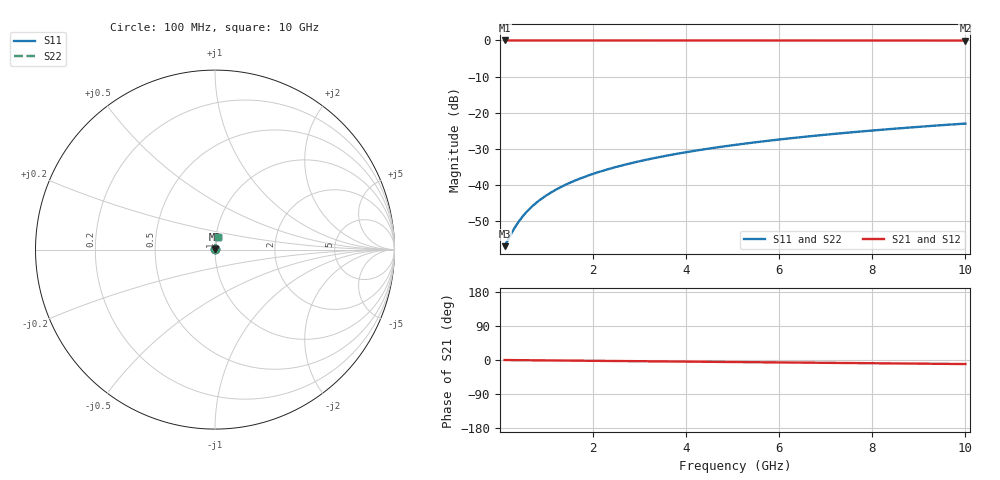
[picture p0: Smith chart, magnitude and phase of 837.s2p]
# Hz S RI R 50.00
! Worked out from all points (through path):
!   100 points, 100 MHz to 10 GHz, reference 50 ohm
!   highest |S21| = -0.01 dB at 100 MHz (marker M1); lowest = 0.0 dB at 10 GHz (marker M2)
!   group delay of S21, straight-line fit = 2.96 ps
!   lowest |S11| = -56.8 dB at 100 MHz (marker M3), VSWR 1.00, Z = 50.1 + j0.0713 ohm
!   |S11| at or under -10 dB: start of sweep to end of sweep
!   |S22| runs from -56.8 to -23.0 dB; largest |S21 - S12| = 0
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1e8  0.00125 0.000711  0.9987 -0.00185  0.9987 -0.00185  0.00125 0.000711
3e8  0.00127 0.00213  0.9987 -0.00556  0.9987 -0.00556  0.00127 0.00213
4e8  0.00129 0.00284  0.9987 -0.00741  0.9987 -0.00741  0.00129 0.00284
5e8  0.0013 0.00356  0.9987 -0.00926  0.9987 -0.00926  0.0013 0.00356
6e8  0.00132 0.00427  0.9986 -0.0111  0.9986 -0.0111  0.00132 0.00427
7e8  0.00134 0.00498  0.9986 -0.013  0.9986 -0.013  0.00134 0.00498
8e8  0.00136 0.00569  0.9986 -0.0148  0.9986 -0.0148  0.00136 0.00569
9e8  0.00139 0.0064  0.9985 -0.0167  0.9985 -0.0167  0.00139 0.0064
1e9  0.00142 0.00711  0.9985 -0.0185  0.9985 -0.0185  0.00142 0.00711
1.2e9  0.00148 0.00853  0.9984 -0.0222  0.9984 -0.0222  0.00148 0.00853
1.5e9  0.00159 0.0107  0.9982 -0.0278  0.9982 -0.0278  0.00159 0.0107
1.8e9  0.00172 0.0128  0.998 -0.0333  0.998 -0.0333  0.00172 0.0128
2.1e9  0.00188 0.0149  0.9978 -0.0389  0.9978 -0.0389  0.00188 0.0149
2.5e9  0.00213 0.0178  0.9974 -0.0463  0.9974 -0.0463  0.00213 0.0178
2.9e9  0.00242 0.0206  0.997 -0.0537  0.997 -0.0537  0.00242 0.0206
3.4e9  0.00284 0.0241  0.9964 -0.063  0.9964 -0.063  0.00284 0.0241
4.2e9  0.00365 0.0297  0.9952 -0.0778  0.9952 -0.0778  0.00365 0.0297
5.1e9  0.00476 0.0361  0.9935 -0.0944  0.9935 -0.0944  0.00476 0.0361
5.9e9  0.00592 0.0416  0.9917 -0.1091  0.9917 -0.1091  0.00592 0.0416
6.7e9  0.00725 0.0472  0.9897 -0.1238  0.9897 -0.1238  0.00725 0.0472
8.4e9  0.0106 0.0588  0.9846 -0.155  0.9846 -0.155  0.0106 0.0588
1e10  0.0145 0.0695  0.9788 -0.1841  0.9788 -0.1841  0.0145 0.0695
